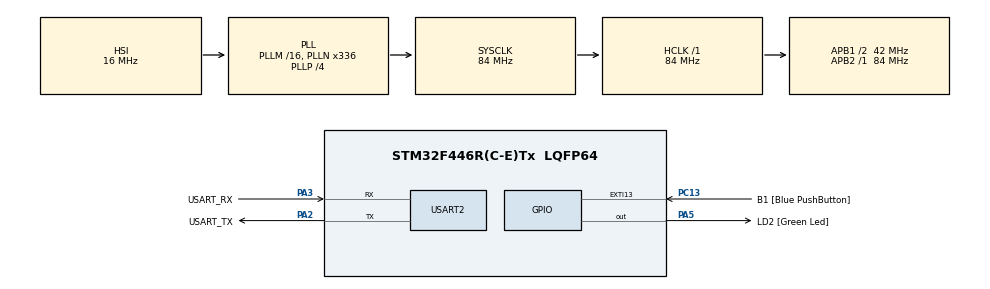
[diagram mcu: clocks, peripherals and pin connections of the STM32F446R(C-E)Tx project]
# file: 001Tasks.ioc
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Mcu.Family=STM32F4
Mcu.Name=STM32F446R(C-E)Tx
Mcu.Package=LQFP64
NVIC.PriorityGroup=NVIC_PRIORITYGROUP_4
NVIC.TIM1_UP_TIM10_IRQn=true\:0\:0\:false\:false\:true\:false\:true\:true
NVIC.TimeBase=TIM1_UP_TIM10_IRQn
NVIC.TimeBaseIP=TIM1
PA13.GPIO_Label=TMS
PA13.Mode=Serial_Wire
PA13.Signal=SYS_JTMS-SWDIO
PA14.GPIO_Label=TCK
PA14.Mode=Serial_Wire
PA14.Signal=SYS_JTCK-SWCLK
PA2.GPIO_Label=USART_TX
PA2.Mode=Asynchronous
PA2.Signal=USART2_TX
PA3.GPIO_Label=USART_RX
PA3.Mode=Asynchronous
PA3.Signal=USART2_RX
PA5.GPIO_Label=LD2 [Green Led]
PA5.Signal=GPIO_Output
PB3.GPIO_Label=SWO
PB3.Signal=SYS_JTDO-SWO
PC13.GPIO_Label=B1 [Blue PushButton]
PC13.GPIO_ModeDefaultEXTI=GPIO_MODE_IT_FALLING
PC13.Signal=GPXTI13
PC14-OSC32_IN.Mode=LSE-External-Oscillator
PC14-OSC32_IN.Signal=RCC_OSC32_IN
PC15-OSC32_OUT.Mode=LSE-External-Oscillator
PC15-OSC32_OUT.Signal=RCC_OSC32_OUT
PH0-OSC_IN.Mode=HSE-External-Oscillator
PH0-OSC_IN.Signal=RCC_OSC_IN
PH1-OSC_OUT.Mode=HSE-External-Oscillator
PH1-OSC_OUT.Signal=RCC_OSC_OUT
ProjectManager.HeapSize=0x200
ProjectManager.StackSize=0x400
ProjectManager.TargetToolchain=STM32CubeIDE
RCC.48MHZClocksFreq_Value=84000000
RCC.AHBFreq_Value=84000000
RCC.APB1CLKDivider=RCC_HCLK_DIV2
RCC.APB1Freq_Value=42000000
RCC.APB1TimFreq_Value=84000000
RCC.APB2Freq_Value=84000000
RCC.APB2TimFreq_Value=84000000
RCC.CortexFreq_Value=84000000
RCC.FLatency-AdvancedSettings=FLASH_LATENCY_2
RCC.HCLKFreq_Value=84000000
RCC.HSE_VALUE=8000000
RCC.HSI_VALUE=16000000
RCC.PLLN=336
RCC.PLLP=RCC_PLLP_DIV4
RCC.SYSCLKFreq_VALUE=84000000
RCC.SYSCLKSource=RCC_SYSCLKSOURCE_PLLCLK
RCC.USBFreq_Value=168000000
RCC.VCOOutputFreq_Value=336000000
USART2.VirtualMode=VM_ASYNC
VP_SYS_VS_tim1.Mode=TIM1
board=NUCLEO-F446RE

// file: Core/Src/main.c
/* USER CODE BEGIN Header */
/**
  ******************************************************************************
  * @file           : main.c
  * @brief          : Main program body
  ******************************************************************************
  * @attention
  *
  * Copyright (c) 2022 STMicroelectronics.
  * All rights reserved.
  *
  * This software is licensed under terms that can be found in the LICENSE file
  * in the root directory of this software component.
  * If no LICENSE file comes with this software, it is provided AS-IS.
  *
  ******************************************************************************
  */
/* USER CODE END Header */
#include "main.h"

/* USER CODE BEGIN Includes */
#include <stdio.h>
#include "FreeRTOS.h"
#include "task.h"
/* USER CODE END Includes */

UART_HandleTypeDef huart2;

void SystemClock_Config(void);
static void MX_GPIO_Init(void);
static void MX_USART2_UART_Init(void);
/* USER CODE BEGIN PFP */
static void task_function_1(void *pvParameters);
static void task_function_2(void *pvParameters);
/* USER CODE END PFP */

int main(void)
{
  /* USER CODE BEGIN 1 */
	TaskHandle_t task_handle_1;
	TaskHandle_t task_handle_2;
	BaseType_t status;
  /* USER CODE END 1 */

  /* MCU Configuration--------------------------------------------------------*/

  /* Reset of all peripherals, Initializes the Flash interface and the Systick. */
  HAL_Init();

  /* Configure the system clock */
  SystemClock_Config();

  /* Initialize all configured peripherals */
  MX_GPIO_Init();
  MX_USART2_UART_Init();
  /* USER CODE BEGIN 2 */

  // Enable DWT_CYCCNT to enable CPU clock cycles count
  DWT->CTRL |= DWT_CTRL_CYCCNTENA_Msk;

  SEGGER_SYSVIEW_Conf();

  NVIC_SetPriorityGrouping( 0 );
  SEGGER_SYSVIEW_Start();

  status = xTaskCreate(task_function_1, "Task 1", 200, "Hello Work from Task-1", 2, &task_handle_1);
  configASSERT(status==pdPASS);

  status = xTaskCreate(task_function_2, "Task 2", 200, "Hello Work from Task-2", 2, &task_handle_2);
  configASSERT(status==pdPASS);

  // start the freeRTOS scheduler
  vTaskStartScheduler();

  /* USER CODE END 2 */

  /* Infinite loop */
  while (1)
  {

  }
}

void SystemClock_Config(void)
{
  RCC_OscInitTypeDef RCC_OscInitStruct = {0};
  RCC_ClkInitTypeDef RCC_ClkInitStruct = {0};

  /** Configure the main internal regulator output voltage
  */
  __HAL_RCC_PWR_CLK_ENABLE();
  __HAL_PWR_VOLTAGESCALING_CONFIG(PWR_REGULATOR_VOLTAGE_SCALE3);

  /** Initializes the RCC Oscillators according to the specified parameters
  * in the RCC_OscInitTypeDef structure.
  */
  RCC_OscInitStruct.OscillatorType = RCC_OSCILLATORTYPE_HSI;
  RCC_OscInitStruct.HSIState = RCC_HSI_ON;
  RCC_OscInitStruct.HSICalibrationValue = RCC_HSICALIBRATION_DEFAULT;
  RCC_OscInitStruct.PLL.PLLState = RCC_PLL_ON;
  RCC_OscInitStruct.PLL.PLLSource = RCC_PLLSOURCE_HSI;
  RCC_OscInitStruct.PLL.PLLM = 16;
  RCC_OscInitStruct.PLL.PLLN = 336;
  RCC_OscInitStruct.PLL.PLLP = RCC_PLLP_DIV4;
  RCC_OscInitStruct.PLL.PLLQ = 2;
  RCC_OscInitStruct.PLL.PLLR = 2;
  if (HAL_RCC_OscConfig(&RCC_OscInitStruct) != HAL_OK)
  {
    Error_Handler();
  }

  /** Initializes the CPU, AHB and APB buses clocks
  */
  RCC_ClkInitStruct.ClockType = RCC_CLOCKTYPE_HCLK|RCC_CLOCKTYPE_SYSCLK
                              |RCC_CLOCKTYPE_PCLK1|RCC_CLOCKTYPE_PCLK2;
  RCC_ClkInitStruct.SYSCLKSource = RCC_SYSCLKSOURCE_PLLCLK;
  RCC_ClkInitStruct.AHBCLKDivider = RCC_SYSCLK_DIV1;
  RCC_ClkInitStruct.APB1CLKDivider = RCC_HCLK_DIV2;
  RCC_ClkInitStruct.APB2CLKDivider = RCC_HCLK_DIV1;

  if (HAL_RCC_ClockConfig(&RCC_ClkInitStruct, FLASH_LATENCY_2) != HAL_OK)
  {
    Error_Handler();
  }
}

static void MX_USART2_UART_Init(void)
{

  huart2.Instance = USART2;
  huart2.Init.BaudRate = 115200;
  huart2.Init.WordLength = UART_WORDLENGTH_8B;
  huart2.Init.StopBits = UART_STOPBITS_1;
  huart2.Init.Parity = UART_PARITY_NONE;
  huart2.Init.Mode = UART_MODE_TX_RX;
  huart2.Init.HwFlowCtl = UART_HWCONTROL_NONE;
  huart2.Init.OverSampling = UART_OVERSAMPLING_16;
  if (HAL_UART_Init(&huart2) != HAL_OK)
  {
    Error_Handler();
  }

}

static void MX_GPIO_Init(void)
{
  GPIO_InitTypeDef GPIO_InitStruct = {0};

  /* GPIO Ports Clock Enable */
  __HAL_RCC_GPIOC_CLK_ENABLE();
  __HAL_RCC_GPIOH_CLK_ENABLE();
  __HAL_RCC_GPIOA_CLK_ENABLE();
  __HAL_RCC_GPIOB_CLK_ENABLE();

  /*Configure GPIO pin Output Level */
  HAL_GPIO_WritePin(LD2_GPIO_Port, LD2_Pin, GPIO_PIN_RESET);

  /*Configure GPIO pin : B1_Pin */
  GPIO_InitStruct.Pin = B1_Pin;
  GPIO_InitStruct.Mode = GPIO_MODE_IT_FALLING;
  GPIO_InitStruct.Pull = GPIO_NOPULL;
  HAL_GPIO_Init(B1_GPIO_Port, &GPIO_InitStruct);

  /*Configure GPIO pin : LD2_Pin */
  GPIO_InitStruct.Pin = LD2_Pin;
  GPIO_InitStruct.Mode = GPIO_MODE_OUTPUT_PP;
  GPIO_InitStruct.Pull = GPIO_NOPULL;
  GPIO_InitStruct.Speed = GPIO_SPEED_FREQ_LOW;
  HAL_GPIO_Init(LD2_GPIO_Port, &GPIO_InitStruct);

}

/* USER CODE BEGIN 4 */

static void task_function_1(void *pvParameters) {

	char msg[100];

	while (1) {
//		printf("%s\n", (char*) pvParameters);
		snprintf(msg, 100, "%s\n", (char*) pvParameters);
		SEGGER_SYSVIEW_PrintfTarget(msg);
		taskYIELD();
	}
}

static void task_function_2(void *pvParameters) {

	char msg[100];

	while (1) {
//		printf("%s\n", (char*) pvParameters);
		snprintf(msg, 100, "%s\n", (char*) pvParameters);
		SEGGER_SYSVIEW_PrintfTarget(msg);
		taskYIELD();
	}
}

/* USER CODE END 4 */

void HAL_TIM_PeriodElapsedCallback(TIM_HandleTypeDef *htim)
{
  if (htim->Instance == TIM1) {
    HAL_IncTick();
  }
}

void Error_Handler(void)
{
  __disable_irq();
  while (1)
  {
  }
}
